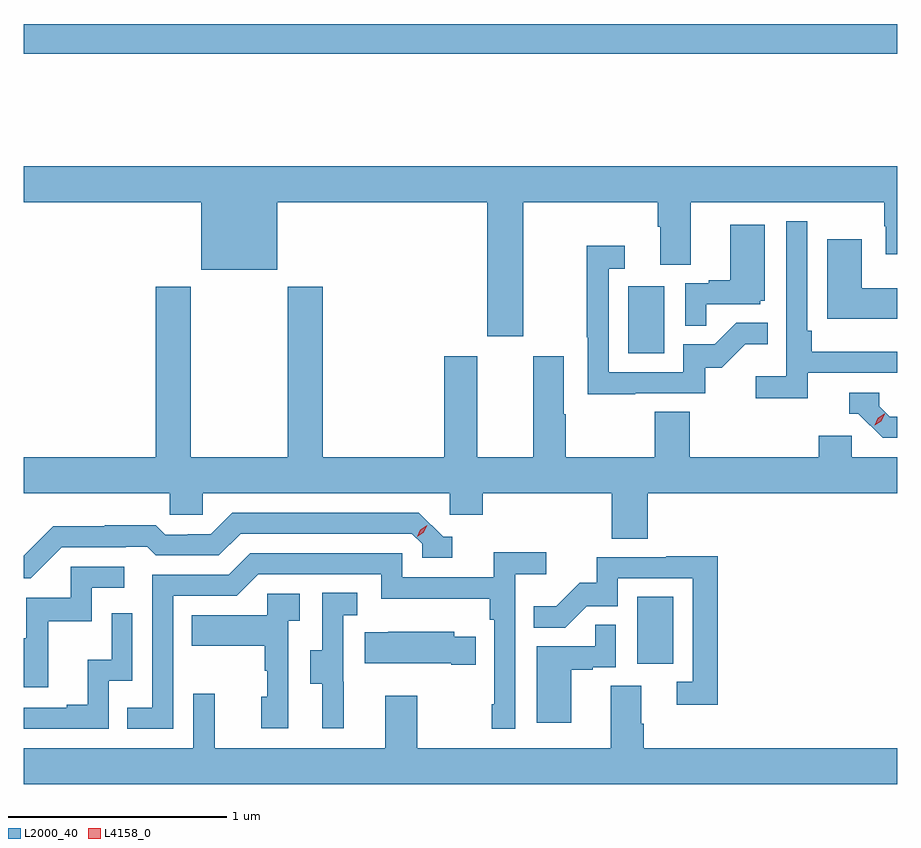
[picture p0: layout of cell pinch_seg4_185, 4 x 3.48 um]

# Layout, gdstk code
import gdstk
lib = gdstk.Library(unit=1e-6, precision=1e-09)
def R(c, l, rs):  # rectangles x0, y0, x1, y1
    for r in rs: c.add(gdstk.rectangle(r[:2], r[2:], *l))
def P(c, l, *ps):  # polygons
    for p in ps: c.add(gdstk.Polygon(p, *l))
L2000_40 = (2000, 40)
L4158_0 = (4158, 0)

pinch_seg4_185 = lib.new_cell('pinch_seg4_185')
R(pinch_seg4_185, L2000_40, [(1103.09,796.038,1103.254,796.345), (1103.048,797.46,1103.212,797.767), (1100.28,798.832,1104.28,798.968)])
P(pinch_seg4_185, L2000_40, [(1102.567,798.152),(1103.183,798.152),(1103.183,798.04),(1103.195,798.04),(1103.195,797.866),(1103.335,797.866),(1103.335,798.152),(1104.22,798.152),(1104.22,798.041),(1104.227,798.041),(1104.227,797.913),(1104.28,797.913),(1104.28,798.316),(1100.28,798.316),(1100.28,798.152),(1101.092,798.152),(1101.092,797.843),(1101.442,797.843),(1101.442,798.152),(1102.403,798.152),(1102.403,797.538),(1102.567,797.538)],
  [(1103.87,797.37),(1104.28,797.37),(1104.28,797.467),(1103.888,797.467),(1103.888,797.563),(1103.868,797.563),(1103.868,798.064),(1103.772,798.064),(1103.772,797.356),(1103.631,797.356),(1103.631,797.254),(1103.87,797.254)],
  [(1103.405,797.685),(1103.652,797.685),(1103.652,797.7),(1103.674,797.7),(1103.674,798.049),(1103.516,798.049),(1103.516,797.794),(1103.417,797.794),(1103.417,797.781),(1103.31,797.781),(1103.31,797.587),(1103.405,797.587)],
  [(1104.28,797.758),(1104.118,797.758),(1104.118,797.983),(1103.96,797.983),(1103.96,797.618),(1104.28,797.618)],
  [(1103.081,797.277),(1103.4,797.277),(1103.4,797.394),(1103.476,797.394),(1103.583,797.501),(1103.687,797.501),(1103.687,797.6),(1103.543,797.6),(1103.445,797.502),(1103.301,797.502),(1103.301,797.373),(1102.959,797.373),(1102.959,797.847),(1103.032,797.847),(1103.032,797.953),(1102.858,797.953),(1102.858,797.533),(1102.863,797.533),(1102.863,797.272),(1103.081,797.272)],
  [(1103.138,796.82),(1104.28,796.82),(1104.28,796.984),(1104.072,796.984),(1104.072,797.082),(1103.921,797.082),(1103.921,796.984),(1103.33,796.984),(1103.33,797.192),(1103.17,797.192),(1103.17,796.984),(1102.761,796.984),(1102.761,797.18),(1102.753,797.18),(1102.753,797.446),(1102.613,797.446),(1102.613,796.984),(1102.357,796.984),(1102.357,797.446),(1102.205,797.446),(1102.205,796.984),(1101.65,796.984),(1101.65,797.764),(1101.49,797.764),(1101.49,796.984),(1101.045,796.984),(1101.045,797.764),(1100.885,797.764),(1100.885,796.984),(1100.28,796.984),(1100.28,796.82),(1100.949,796.82),(1100.949,796.722),(1101.099,796.722),(1101.099,796.82),(1102.23,796.82),(1102.23,796.722),(1102.382,796.722),(1102.382,796.82),(1102.973,796.82),(1102.973,796.612),(1103.138,796.612)],
  [(1104.28,797.169),(1104.246,797.169),(1104.198,797.217),(1104.198,797.28),(1104.059,797.28),(1104.059,797.184),(1104.102,797.184),(1104.213,797.073),(1104.28,797.073)],
  [(1100.454,796.572),(1100.747,796.572),(1100.747,796.575),(1100.846,796.575),(1100.885,796.536),(1101.174,796.536),(1101.273,796.635),(1102.056,796.635),(1102.104,796.587),(1102.104,796.524),(1102.243,796.524),(1102.243,796.62),(1102.2,796.62),(1102.089,796.731),(1101.236,796.731),(1101.137,796.632),(1101.03,796.632),(1101.03,796.629),(1100.927,796.629),(1100.885,796.672),(1100.652,796.672),(1100.652,796.669),(1100.416,796.669),(1100.28,796.533),(1100.28,796.431),(1100.313,796.431)],
  [(1100.964,796.35),(1101.255,796.35),(1101.354,796.449),(1101.918,796.449),(1101.918,796.337),(1102.414,796.337),(1102.414,796.241),(1102.434,796.241),(1102.434,795.853),(1102.422,795.853),(1102.422,795.741),(1102.53,795.741),(1102.53,796.448),(1102.672,796.448),(1102.672,796.55),(1102.433,796.55),(1102.433,796.434),(1102.014,796.434),(1102.014,796.545),(1101.317,796.545),(1101.218,796.446),(1100.868,796.446),(1100.868,795.837),(1100.755,795.837),(1100.755,795.741),(1100.964,795.741)],
  [(1103.459,796.532),(1103.221,796.532),(1103.221,796.527),(1102.903,796.527),(1102.903,796.41),(1102.826,796.41),(1102.719,796.303),(1102.615,796.303),(1102.615,796.204),(1102.759,796.204),(1102.857,796.302),(1103.001,796.302),(1103.001,796.431),(1103.343,796.431),(1103.343,795.957),(1103.271,795.957),(1103.271,795.852),(1103.459,795.852)],
  [(1100.393,796.233),(1100.592,796.233),(1100.592,796.386),(1100.74,796.386),(1100.74,796.482),(1100.496,796.482),(1100.496,796.341),(1100.291,796.341),(1100.291,796.155),(1100.28,796.155),(1100.28,795.93),(1100.393,795.93)],
  [(1101.746,795.957),(1101.744,795.957),(1101.744,796.261),(1101.808,796.261),(1101.808,796.364),(1101.648,796.364),(1101.648,796.101),(1101.593,796.101),(1101.593,795.946),(1101.647,795.946),(1101.647,795.744),(1101.746,795.744)],
  [(1101.492,796.235),(1101.544,796.235),(1101.544,796.359),(1101.396,796.359),(1101.396,796.261),(1101.049,796.261),(1101.049,796.121),(1101.384,796.121),(1101.384,796.007),(1101.394,796.007),(1101.394,795.888),(1101.368,795.888),(1101.368,795.744),(1101.492,795.744)],
  [(1100.67,795.96),(1100.778,795.96),(1100.778,796.27),(1100.682,796.27),(1100.682,796.058),(1100.573,796.058),(1100.573,795.85),(1100.477,795.85),(1100.477,795.837),(1100.28,795.837),(1100.28,795.741),(1100.67,795.741)],
  [(1102.786,796.011),(1102.886,796.011),(1102.886,796.023),(1102.992,796.023),(1102.992,796.217),(1102.897,796.217),(1102.897,796.119),(1102.628,796.119),(1102.628,795.768),(1102.786,795.768)],
  [(1102.349,796.162),(1102.251,796.162),(1102.251,796.186),(1101.949,796.186),(1101.949,796.183),(1101.841,796.183),(1101.841,796.04),(1102.238,796.04),(1102.238,796.033),(1102.349,796.033)],
  [(1104.28,795.652),(1103.12,795.652),(1103.12,795.764),(1103.107,795.764),(1103.107,795.938),(1102.967,795.938),(1102.967,795.652),(1102.083,795.652),(1102.083,795.892),(1101.935,795.892),(1101.935,795.652),(1101.155,795.652),(1101.155,795.901),(1101.057,795.901),(1101.057,795.652),(1100.28,795.652),(1100.28,795.488),(1104.28,795.488)])
P(pinch_seg4_185, L4158_0, [(1104.176,797.13),(1104.176,797.131),(1104.191,797.163),(1104.221,797.184),(1104.222,797.184),(1104.222,797.183),(1104.206,797.15),(1104.176,797.13)],
  [(1102.081,796.62),(1102.081,796.621),(1102.096,796.653),(1102.127,796.673),(1102.127,796.673),(1102.127,796.673),(1102.111,796.64),(1102.081,796.62)])

lib.write_gds('pinch_seg4_185.gds')
